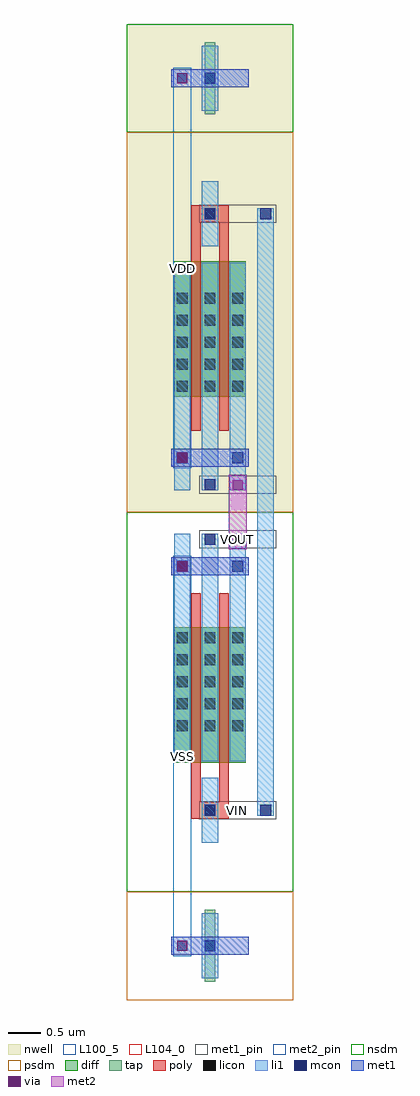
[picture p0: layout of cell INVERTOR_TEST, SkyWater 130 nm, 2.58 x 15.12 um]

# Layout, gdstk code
import gdstk
lib = gdstk.Library(unit=1e-6, precision=1e-09)
def R(c, l, rs):  # rectangles x0, y0, x1, y1
    for r in rs: c.add(gdstk.rectangle(r[:2], r[2:], *l))
def A(c, l, x, y, w, h, nx, ny, dx, dy):  # array of equal rectangles
    R(c, l, [(x+i*dx, y+j*dy, x+i*dx+w, y+j*dy+h) for i in range(nx) for j in range(ny)])
nwell = (64, 20)
diff = (65, 20)
tap = (65, 44)
poly = (66, 20)
licon = (66, 44)
li1 = (67, 20)
mcon = (67, 44)
met1_pin = (68, 16)
met1 = (68, 20)
via = (68, 44)
met2_pin = (69, 16)
met2 = (69, 20)
nsdm = (93, 44)
psdm = (94, 20)
L100_5 = (100, 5)
L104_0 = (104, 0)

invertor_test = lib.new_cell('INVERTOR_TEST')
R(invertor_test, nwell, [(0,7.56,2.58,15.12)])
R(invertor_test, diff, [(0.735,3.675,1.845,5.775), (0.735,9.345,1.845,11.445)])
R(invertor_test, tap, [(1.205,0.28,1.375,1.4), (1.205,13.72,1.375,14.84)])
R(invertor_test, poly, [(1,2.805,1.58,3.075), (1,2.94,1.15,6.3), (1.43,2.94,1.58,6.3), (1,8.82,1.15,12.18), (1.43,8.82,1.58,12.18), (1,12.045,1.58,12.315)])
A(invertor_test, licon, 0.775, 4.165, 0.17, 0.17, 3, 5, 0.43, 0.34)
A(invertor_test, licon, 0.775, 9.425, 0.17, 0.17, 3, 5, 0.43, 0.34)
R(invertor_test, licon, [(1.205,0.755,1.375,0.925), (1.205,2.855,1.375,3.025), (1.205,12.095,1.375,12.265), (1.205,14.195,1.375,14.365)])
A(invertor_test, li1, 0.735, 3.695, 0.25, 3.53, 3, 2, 0.43, 4.2)
R(invertor_test, li1, [(1.165,0.335,1.415,1.345), (1.165,2.435,1.415,3.445), (2.025,2.855,2.275,12.265), (1.165,11.675,1.415,12.685), (1.165,13.775,1.415,14.785)])
R(invertor_test, mcon, [(1.205,0.755,1.375,0.925), (1.205,2.855,1.375,3.025), (2.065,2.855,2.235,3.025), (0.775,6.635,0.945,6.805), (1.635,6.635,1.805,6.805), (1.205,7.055,1.375,7.225), (1.205,7.895,1.375,8.065), (0.775,8.315,0.945,8.485), (1.635,8.315,1.805,8.485), (1.205,12.095,1.375,12.265), (2.065,12.095,2.235,12.265), (1.205,14.195,1.375,14.365)])
R(invertor_test, met1_pin, [(1.12,2.8,2.32,3.08), (1.12,7,2.32,7.28), (1.12,7.84,2.32,8.12), (1.12,12.04,2.32,12.32)])
R(invertor_test, met1, [(0.69,0.7,1.89,0.98), (0.69,6.58,1.89,6.86), (0.69,8.26,1.89,8.54), (0.69,14.14,1.89,14.42)])
R(invertor_test, via, [(0.785,0.765,0.935,0.915), (0.785,6.645,0.935,6.795), (1.645,7.065,1.795,7.215), (1.645,7.905,1.795,8.055), (0.785,8.325,0.935,8.475), (0.785,14.205,0.935,14.355)])
R(invertor_test, met2_pin, [(0.72,0.68,1,6.88), (0.72,8.24,1,14.44)])
R(invertor_test, met2, [(1.58,6.98,1.86,8.14)])
R(invertor_test, nsdm, [(0,1.68,2.58,7.56), (0,13.44,2.58,15.12)])
R(invertor_test, psdm, [(0,0,2.58,1.68), (0,7.56,2.58,13.44)])
R(invertor_test, L100_5, [(0,0,2.58,15.12)])
R(invertor_test, L104_0, [(0,0,2.58,15.12)])
invertor_test.add(gdstk.Label('VOUT', (1.72,7.14), layer=68, texttype=5))
invertor_test.add(gdstk.Label('VIN', (1.72,2.94), layer=68, texttype=5))
invertor_test.add(gdstk.Label('VSS', (0.86,3.78), layer=69, texttype=5))
invertor_test.add(gdstk.Label('VDD', (0.86,11.34), layer=69, texttype=5))

lib.write_gds('INVERTOR_TEST.gds')
